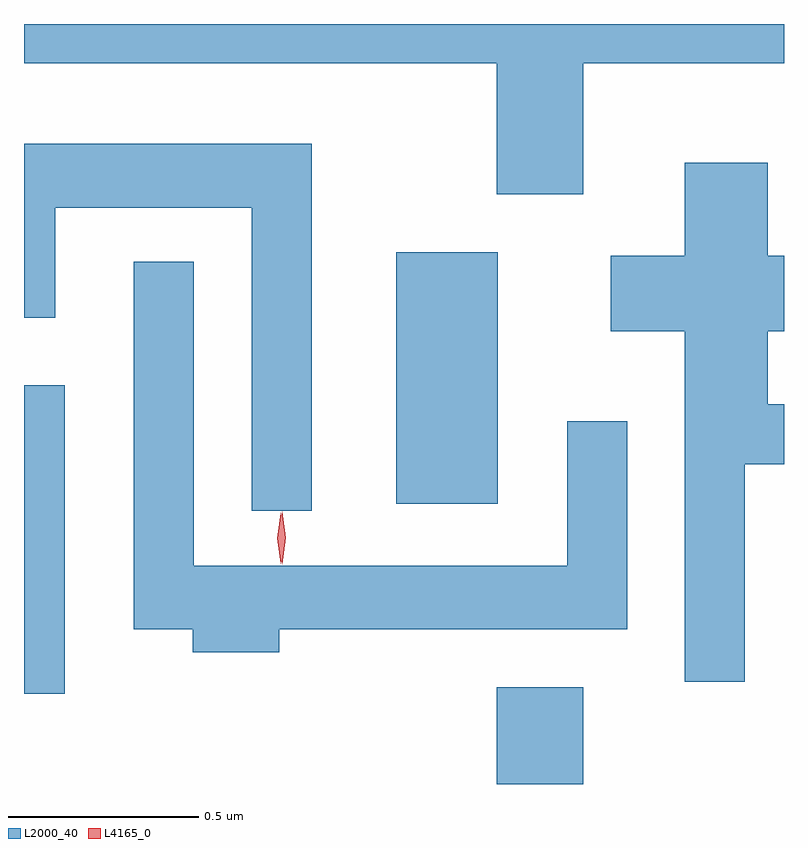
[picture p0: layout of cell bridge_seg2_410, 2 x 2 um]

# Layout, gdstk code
import gdstk
lib = gdstk.Library(unit=1e-6, precision=1e-09)
def R(c, l, rs):  # rectangles x0, y0, x1, y1
    for r in rs: c.add(gdstk.rectangle(r[:2], r[2:], *l))
def P(c, l, *ps):  # polygons
    for p in ps: c.add(gdstk.Polygon(p, *l))
L2000_40 = (2000, 40)
L4165_0 = (4165, 0)

bridge_seg2_410 = lib.new_cell('bridge_seg2_410')
R(bridge_seg2_410, L2000_40, [(621.411,997.579,621.639,997.834), (620.167,997.816,620.274,998.629), (621.146,998.316,621.414,998.979)])
P(bridge_seg2_410, L2000_40, [(621.639,999.476),(622.167,999.476),(622.167,999.579),(620.167,999.579),(620.167,999.476),(621.411,999.476),(621.411,999.131),(621.639,999.131)],
  [(620.924,999.264),(620.167,999.264),(620.167,998.806),(620.249,998.806),(620.249,999.096),(620.766,999.096),(620.766,998.298),(620.924,998.298)],
  [(622.064,998.421),(622.167,998.421),(622.167,998.579),(622.124,998.579),(622.124,998.771),(622.167,998.771),(622.167,998.969),(622.124,998.969),(622.124,999.214),(621.906,999.214),(621.906,998.969),(621.711,998.969),(621.711,998.771),(621.906,998.771),(621.906,997.848),(622.064,997.848)],
  [(620.839,997.986),(621.754,997.986),(621.754,998.533),(621.596,998.533),(621.596,998.154),(620.614,998.154),(620.614,998.953),(620.456,998.953),(620.456,997.986),(620.611,997.986),(620.611,997.926),(620.839,997.926)])
P(bridge_seg2_410, L4165_0, [(620.846,998.157),(620.846,998.157),(620.836,998.227),(620.846,998.296),(620.846,998.296),(620.847,998.296),(620.856,998.227),(620.847,998.157)],
  [(620.842,998.159),(620.842,998.16),(620.833,998.226),(620.842,998.292),(620.843,998.293),(620.843,998.292),(620.852,998.226),(620.843,998.16)])

lib.write_gds('bridge_seg2_410.gds')
